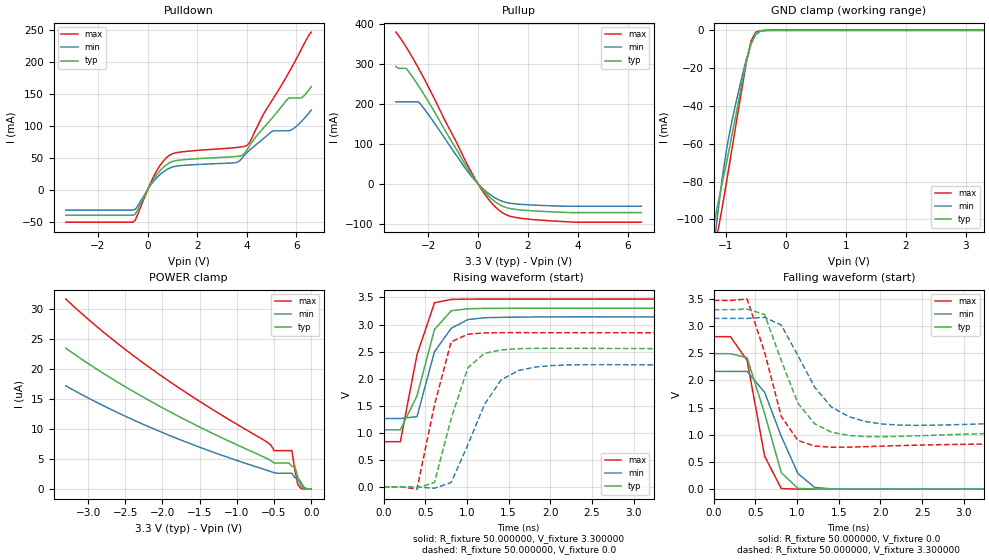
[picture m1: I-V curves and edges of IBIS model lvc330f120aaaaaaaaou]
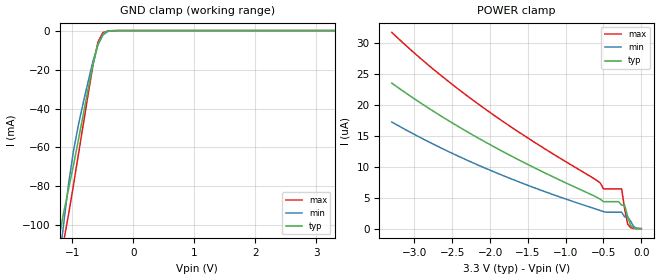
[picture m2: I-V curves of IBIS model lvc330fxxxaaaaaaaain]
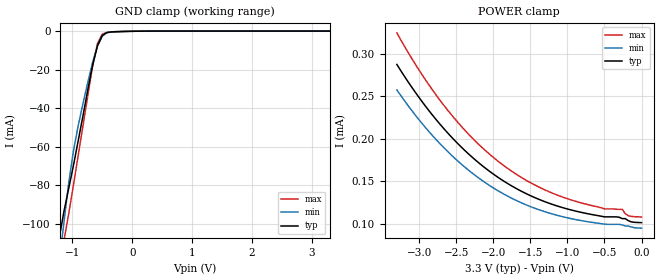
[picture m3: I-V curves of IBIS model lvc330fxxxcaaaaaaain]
| IBIS Models Generator: Lattice Diamond (64-bit) 3.11.0.396.4
| Generate date: Wed Dec 02 23:22:33 2020
| IBIS File xp2.ibs
| LibisGenD3 v1.1.A.A, 06/28/2007, Lattice Semiconductor Corporation
| North Carolina State University, ERL, 2006
[IBIS ver]   3.2
[File Name]   slova_impl1.ibs
[File Rev]   2.3
[Date]   Aug 14, 2008
[Source]   Lattice Semiconductor CS100A Process
[Notes]   Lattice Semiconductor has worked hard to ensure the
   models below are accurate and complete.  However, the
   data below was generated using simulation of the
   input/output model files for the silicon.  Therefore,
   the data below is for reference and initial design
   purposes only.
   Lattice Semiconductor grants permission to use this
   data for use in printed circuit design using this
   Lattice programmable logic device.  Other use of this
   code, including the selling or duplication of any
   portion is strictly prohibited.
|   NAMING CONVENTION
   The IBIS [Model] header is limited by the specification to a
   total of 20 characters.  With such a set of characters available
   for naming models it becomes important to attempt to
   meaningfully encode the IO standards so they fit within the
   twenty character limit.  It would seem that twenty characters
   would provide room enough for describing IO's.  However, the
   PLD IO structure continues to grow more and more complex.  The
   complexity is making the twenty characters insuffiently
   descriptive.  In order to overcome this issue the naming
   convention described below is implemented to resolve the issue.
The twenty character space is managed as follows:
   bbbvvvsdddprugtcoixx
   b = standard
   v = voltage (x.xx V)
   s = slew code
   d = drive (xx.x ma)
   p = pullup code
   r = series resistance code
   u = terminate to vcc code
   g = terminate to gnd code
   t = terminate to vtt code
   c = common mode termination mode
   o = diff resistor code
   i = diff resistor current code
   x = reserved
   standard
   LVCMOS   lvc
   lvcmosd   lvd
   lvdse   lve
   LVTTL   lvt
   lvttld   ltd
   PCI   pci
   pcix   pcx
   AGP1x   ag1
   agp2x   ag2
   sstl_I   ss1
   sstl_II   ss2
   sstld_I   s1d
   sstld_II   s2d
   CTT   ctt
   hstl_i   hs1
   hstl_ii   hs2
   hstl_iii   hs3
   hstl_iv   hs4
   hstld_i   h1d
   hstld_ii   h2d
   gtl   gtl
   gtlplus   gtp
   lvds   lvs
   blvds   blv
   mlvds   mlv
   lvpecl   lvp
   cml   cml
   hypt   hyp
   rsds   rsd
   vref1   vr1
   vref2   vr2
   ref_res   rer
   slew
   na   a
   fast   f
   slow   s
   pullmode
   off   a
   pullup   b
   pulldown   c
   bushold   d
   pciclamp   e
   up_pciclamp   f
   down_pciclamp   g
   keeper_pciclamp   h
   schmitt   i
   up_schmitt   j
   down_schmitt   k
   keeper_schmitt   l
   up_pciclamp_schmitt   m
   down_pciclamp_schmitt   n
   keeper_pciclamp_schmitt  o
   pciclamp_schmitt   p
   impedence
   off   a
   25   b
   33   c
   50   d
   100   e
   termVCC
   off   a
   50   b
   100   c
   120   d
   termGND
   off   a
   50   b
   100   c
   120   d
   termVTT
   off   a
   60   b
   75   c
   120   d
   150   e
   210   f
   VCMT
   off   a
   VCMT   b
   VTT   c
   DDR-2   d
   differential resistor
   off   a
   120   b
   150   c
   220   d
   420   e
   differential current
   NA   a
   2   b
   3.5   c
   4   d
   6   e
   Reserved   IO type
   in   input only
   ou   output
   io   I/O
   od   Open drain
   on   Inverting differential I/O
   (signal name only)
   op   Non-Inverting differential I/O
   (signal name only)
   All the IO models are generated with pull mode set to UP.
   Lattice Semiconductor Corporation
   5555 NE Moore Court
   Hillsboro, OR 97214
   U.S.A
   TEL: 1-800-Lattice (USA and Canada)
   408-826-6000 (other locations)
   web: http://www.latticesemi.com/
   email: techsupport@latticesemi.com
[Disclaimer] This IBIS source code is intended as a design reference
   which illustrates how the Lattice Semiconductor device operates.
   It is the user's responsibility to verify their design for
   consistency and functionality through the use of formal
   verification methods.  Lattice Semiconductor provides no warranty
   regarding the use or functionality of this data.
[Copyright]   Copyright 2007 by Lattice Semiconductor Corporation
|   Component XP2
[Component]   XP2
[Manufacturer]   Lattice Semiconductor Corp.
[Package]
|TQFP144
| variable   typ   min   max
R_pkg   159.8m   143.8m   177.3m
L_pkg   7.50nH   6.44nH   8.48nH
C_pkg   1.22pF   1.06pF   1.38pF
[Pin] signal_name   model_name   R_pin   L_pin   C_pin
22   btn_center   lvc330fxxxcaaaaaaain
1   btn_down   lvc330fxxxcaaaaaaain
2   btn_left   lvc330fxxxcaaaaaaain
38   btn_right   lvc330fxxxcaaaaaaain
11   btn_up   lvc330fxxxcaaaaaaain
30   clk_25m   lvc330fxxxaaaaaaaain
29   led[0]   lvc330f120aaaaaaaaou
37   led[1]   lvc330f120aaaaaaaaou
36   led[2]   lvc330f120aaaaaaaaou
35   led[3]   lvc330f120aaaaaaaaou
144   led[4]   lvc330f120aaaaaaaaou
5   led[5]   lvc330f120aaaaaaaaou
6   led[6]   lvc330f120aaaaaaaaou
138   led[7]   lvc330f120aaaaaaaaou
137   rs232_tx   lvc330f120aaaaaaaaou
45   sw[0]   lvc330fxxxcaaaaaaain
| Models and submodels in the file (3): lvc330f120aaaaaaaaou (Output), lvc330fxxxaaaaaaaain (Input), lvc330fxxxcaaaaaaain (Input)
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[Model]   lvc330f120aaaaaaaaou
Model_type   Output
Polarity   Non-Inverting
Enable   Active-Low
Vmeas =   1.500000V
Cref =   0.0F
Rref =   1.000000M
Vref =   0.0V
C_comp   4.741800pF   3.966500pF   6.214600pF
[Temperature Range]   25.000000   0.105000k   -40.000000
[Voltage Range]   3.300000V   3.140000V   3.470000V
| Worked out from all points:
|   slope of the pulldown table from 0 to 0.495 V, typ, clamps not added: 16.7 ohm
|   slope of the pullup table from 0 to 0.495 V, typ, clamps not added: 14.2 ohm
|   GND clamp passes 1 mA (typ) near -0.46 V on its own axis
|   rising waveform, R_fixture 50.000000, V_fixture 3.300000: 20-80 % time 257ps typ, 274ps min, 244ps max; typ from 1.05 V to 3.3 V
|   rising waveform, R_fixture 50.000000, V_fixture 0.0: 20-80 % time 289ps typ, 393ps min, 257ps max; typ from 0 V to 2.52 V
|   falling waveform, R_fixture 50.000000, V_fixture 0.0: 20-80 % time 287ps typ, 346ps min, 211ps max; typ from 2.49 V to 0 V
|   falling waveform, R_fixture 50.000000, V_fixture 3.300000: 20-80 % time 355ps typ, 440ps min, 287ps max; typ from 3.3 V to 1.06 V
[Pulldown]
|Voltage   I(typ)   I(min)   I(max)
-3.3V     -39.97mA   -32.02mA   -50.9mA
-600mV    -39.97mA   -32.02mA   -50.9mA
-500mV    -38.32mA   -30.57mA   -47.88mA
300mV     19.82mA    15.86mA    25.07mA
600mV     33.92mA    27.06mA    43.27mA
900mV     42.68mA    34.15mA    54.57mA
3.6V      52.33mA    42.95mA    66.34mA
4V        61.93mA    58.02mA    69.35mA
5V        111.5mA    91.14mA    139mA
5.6V      140.4mA    92.52mA    177.3mA
6.2V      144.1mA    106.8mA    220.3mA
6.6V      161.9mA    125.2mA    247.4mA
[Pullup]
|Voltage   I(typ)   I(min)   I(max)
-3.3V     294.2mA    205.7mA    380.3mA
-3.2V     289.5mA    205.7mA    372.1mA
-2.9V     289.5mA    205.7mA    343.9mA
-2.4V     246.3mA    205.7mA    290.5mA
-500mV    46.63mA    37.95mA    56.74mA
-100mV    8.521mA    6.752mA    10.63mA
400mV     -29.15mA   -22.87mA   -37.04mA
900mV     -53.07mA   -41.53mA   -68.68mA
1.4V      -62.75mA   -49.13mA   -82.55mA
2.4V      -68mA      -53.25mA   -90.03mA
3.9V      -71.46mA   -55.67mA   -95.62mA
6.55V     -71.46mA   -55.67mA   -95.62mA
[GND_clamp]
|Voltage   I(typ)   I(min)   I(max)
-3.3V     -973.6mA   -960.1mA   -986.7mA
-1.22V    -107.1mA   -119.7mA   -121.2mA
-1.14V    -93mA      -98.67mA   -107.7mA
-1.06V    -80.91mA   -78.21mA   -93.77mA
-980mV    -68.78mA   -61.53mA   -78.77mA
-900mV    -55.89mA   -48.33mA   -63.31mA
-660mV    -17mA      -15.5mA    -17.3mA
-580mV    -7.105mA   -7.276mA   -5.84mA
-500mV    -1.708mA   -2.25mA    -942.2uA
-420mV    -271.3uA   -436.3uA   -184.8uA
-260mV    -5.418uA   -6.005uA   -9.589uA
3.3V      5.197nA    2.013uA    3.584nA
[POWER_clamp]
|Voltage   I(typ)   I(min)   I(max)
-3.3V     23.48uA    17.21uA    31.66uA
-2.62V    17.95uA    12.85uA    24.42uA
-1.82V    12.37uA    8.524uA    17.21uA
-580mV    5.012uA    3.08uA     7.717uA
-500mV    4.359uA    2.757uA    6.424uA
-300mV    4.359uA    2.659uA    6.424uA
-260mV    3.789uA    2.659uA    6.424uA
-220mV    3.789uA    1.906uA    3.195uA
-180mV    1.992uA    1.906uA    755.4nA
-140mV    529.4nA    1.185uA    153.1nA
-100mV    120.6nA    342.1nA    27.16nA
0V        5.197nA    13.91nA    4.244nA
[Ramp]
| variable   typ   min   max
dV/dt_r  1.512853/0.289318n  1.304577/0.392553n  1.699897/0.250846n
dV/dt_f  1.346639/0.354695n  1.124956/0.439742n  1.581274/0.282504n
R_load = 50.000000
[Rising Waveform]
R_fixture=   50.000000
V_fixture=   3.300000
V_fixture_min=   3.140000
V_fixture_max=   3.470000
|time   V(typ)   V(min)   V(max)
0s        1.054V     1.263V     833.7mV
200ps     1.054V     1.263V     834.2mV
400ps     1.68V      1.298V     2.439V
610ps     2.908V     2.498V     3.402V
810ps     3.253V     2.928V     3.463V
1.01ns    3.291V     3.091V     3.469V
1.21ns    3.297V     3.125V     3.47V
1.62ns    3.3V       3.137V     3.47V
20ns      3.3V       3.14V      3.47V
[Rising Waveform]
R_fixture=   50.000000
V_fixture=   0.0
V_fixture_min=   0.0
V_fixture_max=   0.0
|time   V(typ)   V(min)   V(max)
0s        50.01nV    193nV      27.36nV
400ps     -22.05mV   -3.512mV   -43.07mV
610ps     80.59mV    -25.75mV   1.515V
810ps     1.261V     80.65mV    2.679V
1.01ns    2.2V       773.7mV    2.82V
1.21ns    2.466V     1.524V     2.845V
1.41ns    2.531V     1.978V     2.85V
1.62ns    2.553V     2.15V      2.85V
2.02ns    2.56V      2.241V     2.849V
20ns      2.521V     2.174V     2.833V
[Falling Waveform]
R_fixture=   50.000000
V_fixture=   0.0
V_fixture_min=   0.0
V_fixture_max=   0.0
|time   V(typ)   V(min)   V(max)
0s        2.491V     2.166V     2.803V
200ps     2.491V     2.166V     2.803V
400ps     2.417V     2.165V     2.367V
610ps     1.391V     1.781V     608mV
810ps     302.9mV    971.1mV    10.7mV
1.01ns    13.82mV    287.9mV    1.114mV
1.21ns    2.284mV    31.82mV    42.15uV
1.41ns    521.7uV    5.569mV    -162.8uV
20ns      217.9nV    456.7nV    120.2nV
[Falling Waveform]
R_fixture=   50.000000
V_fixture=   3.300000
V_fixture_min=   3.140000
V_fixture_max=   3.470000
|time   V(typ)   V(min)   V(max)
0s        3.3V       3.14V      3.47V
400ps     3.311V     3.139V     3.495V
610ps     3.211V     3.16V      2.52V
810ps     2.364V     3.017V     1.336V
1.01ns    1.579V     2.456V     895.3mV
1.21ns    1.204V     1.875V     792.4mV
1.41ns    1.049V     1.512V     771.4mV
1.62ns    987mV      1.333V     772.6mV
2.22ns    970.8mV    1.178V     800mV
20ns      1.056V     1.265V     834.5mV
[Model]   lvc330fxxxaaaaaaaain
Model_type   Input
Polarity   Non-Inverting
Enable   Active-Low
Vinl =   0.800000V
Vinh =   2.000000V
C_comp   4.741800pF   3.966500pF   6.214600pF
[Temperature Range]   25.000000   0.105000k   -40.000000
[Voltage Range]   3.300000V   3.140000V   3.470000V
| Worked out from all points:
|   GND clamp passes 1 mA (typ) near -0.46 V on its own axis
[GND_clamp]
|Voltage   I(typ)   I(min)   I(max)
-3.3V     -973.6mA   -960.1mA   -986.7mA
-1.22V    -107.1mA   -119.7mA   -121.4mA
-1.14V    -93.04mA   -98.67mA   -107.9mA
-1.06V    -80.98mA   -78.21mA   -93.94mA
-980mV    -68.88mA   -61.54mA   -78.93mA
-900mV    -56mA      -48.36mA   -63.46mA
-660mV    -17.08mA   -15.55mA   -17.41mA
-580mV    -7.176mA   -7.324mA   -5.944mA
-500mV    -1.766mA   -2.287mA   -1.034mA
-420mV    -307.6uA   -457.9uA   -243.5uA
-260mV    -9.08uA    -7.751uA   -16.7uA
3.3V      5.194nA    2.013uA    3.568nA
[POWER_clamp]
|Voltage   I(typ)   I(min)   I(max)
-3.3V     23.48uA    17.21uA    31.66uA
-2.62V    17.95uA    12.85uA    24.42uA
-1.82V    12.37uA    8.524uA    17.21uA
-580mV    5.012uA    3.08uA     7.717uA
-500mV    4.359uA    2.757uA    6.424uA
-300mV    4.359uA    2.659uA    6.424uA
-260mV    3.789uA    2.659uA    6.424uA
-220mV    3.789uA    1.906uA    3.195uA
-180mV    1.992uA    1.906uA    755.4nA
-140mV    529.4nA    1.185uA    153.1nA
-100mV    120.6nA    342.1nA    27.14nA
0V        5.194nA    13.91nA    4.229nA
[Model]   lvc330fxxxcaaaaaaain
Model_type   Input
Polarity   Non-Inverting
Enable   Active-Low
Vinl =   0.800000V
Vinh =   2.000000V
C_comp   4.741800pF   3.966500pF   6.214600pF
[Temperature Range]   25.000000   0.105000k   -40.000000
[Voltage Range]   3.300000V   3.140000V   3.470000V
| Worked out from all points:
|   GND clamp passes 1 mA (typ) near -0.44 V on its own axis
[GND_clamp]
|Voltage   I(typ)   I(min)   I(max)
-3.3V     -973.6mA   -960.1mA   -986.7mA
-1.22V    -107.2mA   -119.7mA   -121.9mA
-1.14V    -93.24mA   -98.7mA    -108.4mA
-1.06V    -81.28mA   -78.26mA   -94.37mA
-980mV    -69.22mA   -61.62mA   -79.32mA
-900mV    -56.32mA   -48.49mA   -63.81mA
-660mV    -17.35mA   -15.78mA   -17.73mA
-580mV    -7.472mA   -7.565mA   -6.313mA
-500mV    -2.084mA   -2.536mA   -1.453mA
-420mV    -612.7uA   -692.1uA   -640.2uA
-180mV    -124.5uA   -91.91uA   -169.6uA
3.3V      101.1uA    96.92uA    107.3uA
[POWER_clamp]
|Voltage   I(typ)   I(min)   I(max)
-3.3V     287.6uA    257.6uA    324.8uA
-2.94V    241.4uA    215.9uA    272.9uA
-2.58V    203.6uA    182uA      229.9uA
-2.22V    173.4uA    155.3uA    195.4uA
-1.86V    150.2uA    134.9uA    168.5uA
-1.5V     133uA      120.1uA    148.3uA
-1.1V     119.7uA    108.9uA    132.4uA
-500mV    107.9uA    99.42uA    117.3uA
-340mV    107.9uA    99.07uA    116.8uA
-260mV    105.8uA    98.38uA    116.8uA
-180mV    103.6uA    97.14uA    109.2uA
0V        101.1uA    94.58uA    107.8uA
